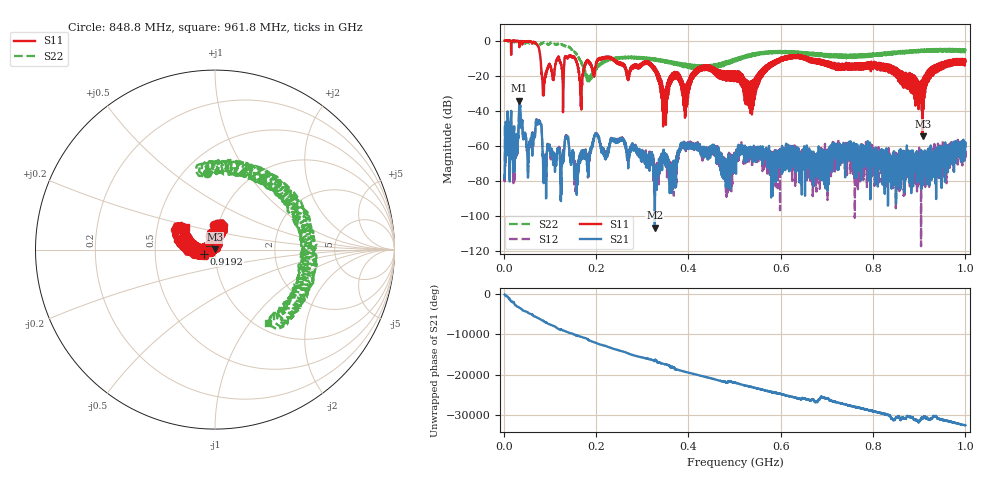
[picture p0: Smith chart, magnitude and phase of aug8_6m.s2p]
!Keysight Technologies N9923A: A.12.45
!Date: Friday, 08 August 2025 17:28:46
!Timezone: (UTC+08:00) Kuala Lumpur, Singapore
!Model: N9923A
!Serial: MY61181427
!GPS Latitude:
!GPS Longitude:
!GPS TimeStamp: 0001-01-01 00:00:00Z
!GPS Seconds Since Last Read: 0
!CHECKSUM:0205364151
!Correction: S11(ON U)S21(ON U)S12(ON U)S22(ON U)
!S2P File: Measurements:S11,S21,S12,S22:
# Hz S DB R 50
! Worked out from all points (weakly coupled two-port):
!   4001 points, 2 MHz to 1 GHz, reference 50 ohm
!   highest |S21| = -34.22 dB at 34.19 MHz (marker M1); lowest = -106.6 dB at 327.3 MHz (marker M2)
!   lowest |S11| = -54.5 dB at 907.4 MHz (marker M3), VSWR 1.00, Z = 49.8 + j0.0838 ohm
!   |S11| at or under -10 dB: 153.8 MHz to 206.1 MHz (52.22 MHz wide, 29 % of centre); 234.5 MHz to 599.5 MHz (365 MHz wide, 87.5 % of centre); 662.2 MHz to end of sweep (the widest 3 of 59)
!   |S22| runs from -24.4 to 0.0 dB; largest |S21 - S12| = 0.0017
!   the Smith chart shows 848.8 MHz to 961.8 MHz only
!   S11 on the Smith chart (normalised r, x): 848.8 MHz: 0.95, +0.26; 919.2 MHz: 0.88, -0.04; 961.8 MHz: 0.70, +0.19
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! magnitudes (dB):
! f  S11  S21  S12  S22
! 2 MHz  -0.1  -76.6  -77.6  0.0
! 34.19 MHz  -3.2  -34.2  -34.1  -0.7
! 53.65 MHz  -0.5  -69.4  -66.4  -1.1
! 76.85 MHz  -4.9  -45.9  -45.6  -1.4
! 89.08 MHz  -21.3  -70.7  -67.6  -1.1
! 145.2 MHz  -8.6  -68.9  -65.1  -4.7
! 168.4 MHz  -35.2  -67.9  -65.5  -12.7
! 180.6 MHz  -11.1  -68.5  -67.8  -22.0
! 255.5 MHz  -12.8  -56.5  -56.2  -10.2
! 327.3 MHz  -16.3  -106.6  -77.7  -10.3
! 334.8 MHz  -19.6  -72.8  -76.0  -11.8
! 348.3 MHz  -37.8  -68.1  -65.2  -12.5
! 366.8 MHz  -19.8  -72.0  -70.6  -13.5
! 387.7 MHz  -31.7  -59.3  -58.6  -13.0
! 501 MHz  -17.5  -68.3  -65.9  -12.1
! 667.4 MHz  -10.6  -68.0  -71.1  -7.4
! 833.8 MHz  -17.4  -64.7  -67.2  -7.3
! 848.8 MHz  -17.3  -72.4  -76.5  -7.4
! 907.4 MHz  -54.5  -81.3  -65.3  -6.4
! 919.2 MHz  -23.7  -70.0  -78.3  -6.1
! 961.8 MHz  -13.8  -64.4  -67.0  -6.0
! 1 GHz  -11.8  -60.4  -67.5  -5.9
